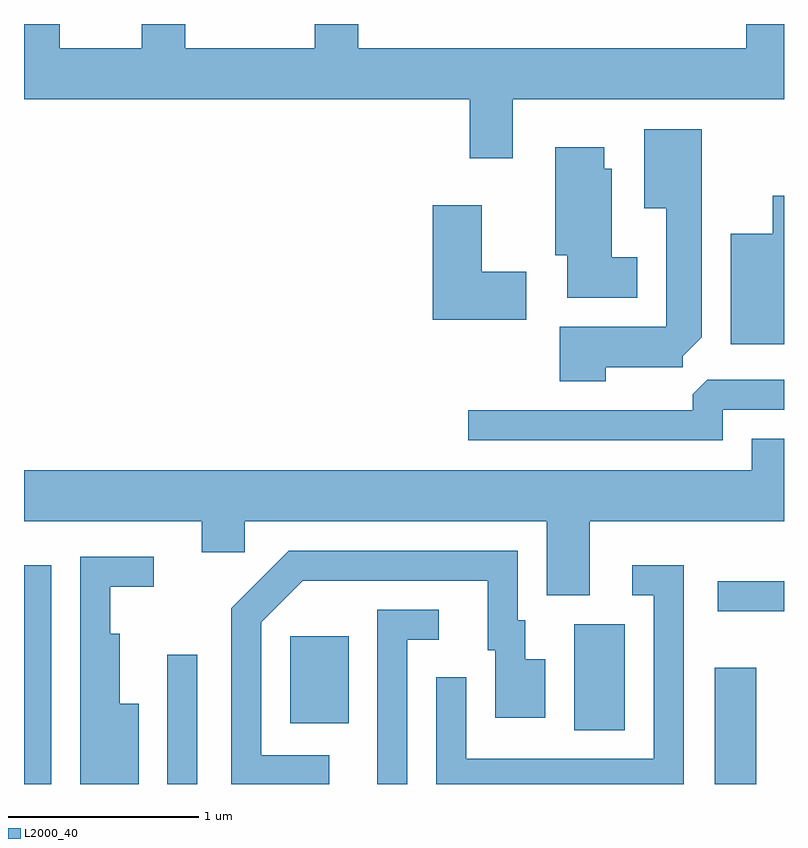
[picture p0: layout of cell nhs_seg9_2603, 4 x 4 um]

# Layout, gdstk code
import gdstk
lib = gdstk.Library(unit=1e-6, precision=1e-09)
def R(c, l, rs):  # rectangles x0, y0, x1, y1
    for r in rs: c.add(gdstk.rectangle(r[:2], r[2:], *l))
def P(c, l, *ps):  # polygons
    for p in ps: c.add(gdstk.Polygon(p, *l))
L2000_40 = (2000, 40)

nhs_seg9_2603 = lib.new_cell('nhs_seg9_2603')
R(nhs_seg9_2603, L2000_40, [(261.611,1990.432,261.754,1991.584), (262.366,1990.432,262.524,1991.113), (265.246,1990.432,265.464,1991.044), (264.506,1990.716,264.774,1991.274), (263.011,1990.751,263.319,1991.209), (265.263,1991.341,265.611,1991.499)])
P(nhs_seg9_2603, L2000_40, [(264.184,1994.036),(265.611,1994.036),(265.611,1994.432),(265.411,1994.432),(265.411,1994.304),(263.369,1994.304),(263.369,1994.432),(263.141,1994.432),(263.141,1994.304),(262.459,1994.304),(262.459,1994.432),(262.231,1994.432),(262.231,1994.304),(261.799,1994.304),(261.799,1994.432),(261.611,1994.432),(261.611,1994.036),(263.956,1994.036),(263.956,1993.726),(264.184,1993.726)],
  [(264.674,1992.626),(265.079,1992.626),(265.079,1992.684),(265.179,1992.784),(265.179,1993.879),(264.876,1993.879),(264.876,1993.461),(264.991,1993.461),(264.991,1992.839),(264.431,1992.839),(264.431,1992.551),(264.674,1992.551)],
  [(264.839,1993.204),(264.704,1993.204),(264.704,1993.669),(264.664,1993.669),(264.664,1993.784),(264.406,1993.784),(264.406,1993.216),(264.471,1993.216),(264.471,1992.991),(264.839,1992.991)],
  [(265.611,1993.529),(265.551,1993.529),(265.551,1993.329),(265.331,1993.329),(265.331,1992.746),(265.611,1992.746)],
  [(264.254,1993.129),(264.019,1993.129),(264.019,1993.479),(263.761,1993.479),(263.761,1992.876),(264.254,1992.876)],
  [(265.289,1992.401),(265.611,1992.401),(265.611,1992.559),(265.207,1992.559),(265.131,1992.484),(265.131,1992.399),(263.948,1992.399),(263.948,1992.241),(265.289,1992.241)],
  [(264.589,1991.816),(265.611,1991.816),(265.611,1992.249),(265.441,1992.249),(265.441,1992.084),(261.611,1992.084),(261.611,1991.816),(262.546,1991.816),(262.546,1991.651),(262.774,1991.651),(262.774,1991.816),(264.361,1991.816),(264.361,1991.426),(264.589,1991.426)],
  [(263.218,1990.584),(262.859,1990.584),(262.859,1991.284),(263.077,1991.501),(264.051,1991.501),(264.051,1991.136),(264.091,1991.136),(264.091,1990.781),(264.354,1990.781),(264.354,1991.089),(264.249,1991.089),(264.249,1991.294),(264.209,1991.294),(264.209,1991.659),(263.004,1991.659),(262.701,1991.357),(262.701,1990.432),(263.218,1990.432)],
  [(262.214,1990.854),(262.114,1990.854),(262.114,1991.224),(262.064,1991.224),(262.064,1991.471),(262.293,1991.471),(262.293,1991.629),(261.906,1991.629),(261.906,1990.432),(262.214,1990.432)],
  [(265.084,1991.584),(264.813,1991.584),(264.813,1991.426),(264.926,1991.426),(264.926,1990.564),(263.939,1990.564),(263.939,1990.993),(263.781,1990.993),(263.781,1990.432),(265.084,1990.432)],
  [(263.629,1991.191),(263.793,1991.191),(263.793,1991.349),(263.471,1991.349),(263.471,1990.432),(263.629,1990.432)])

lib.write_gds('nhs_seg9_2603.gds')
